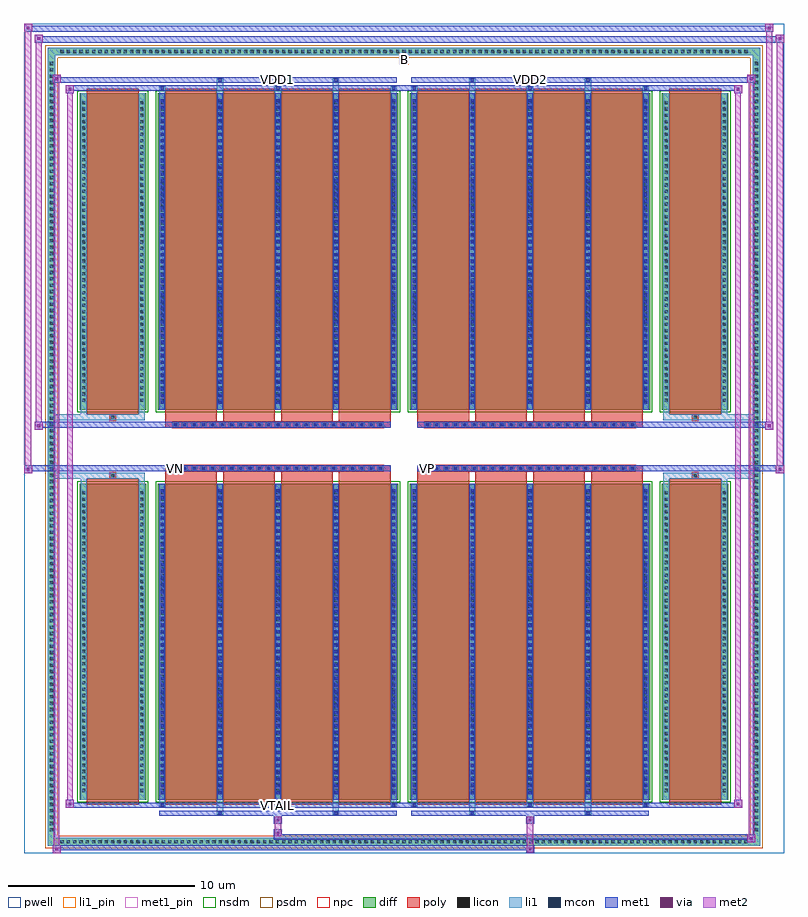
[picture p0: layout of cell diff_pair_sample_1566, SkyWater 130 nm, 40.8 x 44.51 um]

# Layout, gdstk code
import gdstk
lib = gdstk.Library(unit=1e-6, precision=5e-09)
def R(c, l, rs):  # rectangles x0, y0, x1, y1
    for r in rs: c.add(gdstk.rectangle(r[:2], r[2:], *l))
def A(c, l, x, y, w, h, nx, ny, dx, dy):  # array of equal rectangles
    R(c, l, [(x+i*dx, y+j*dy, x+i*dx+w, y+j*dy+h) for i in range(nx) for j in range(ny)])
def P(c, l, *ps):  # polygons
    for p in ps: c.add(gdstk.Polygon(p, *l))
pwell = (64, 44)
diff = (65, 20)
poly = (66, 20)
licon = (66, 44)
li1_pin = (67, 16)
li1 = (67, 20)
mcon = (67, 44)
met1_pin = (68, 16)
met1 = (68, 20)
via = (68, 44)
met2 = (69, 20)
nsdm = (93, 44)
psdm = (94, 20)
npc = (95, 20)

diff_pair_sample_1566 = lib.new_cell('diff_pair_sample_1566')
R(diff_pair_sample_1566, pwell, [(-20.4,-21.82,20.4,22.69), (-17.72,-20.01,-0.01,-0.805), (0.01,-20.01,17.72,-0.805), (-17.72,0.805,-0.01,20.01), (0.01,0.805,17.72,20.01)])
A(diff_pair_sample_1566, diff, -18.565, -21.42, 0.41, 0.41, 109, 2, 0.34, 42.43)
A(diff_pair_sample_1566, diff, -19.13, -20.775, 0.41, 0.41, 1, 122, 0, 0.34)
A(diff_pair_sample_1566, diff, 18.72, -20.775, 0.41, 0.41, 1, 122, 0, 0.34)
R(diff_pair_sample_1566, diff, [(-18.565,-21.42,18.565,-21.01), (-19.13,-20.775,-18.72,20.775), (18.72,-20.775,19.13,20.775), (-17.41,-18.965,-13.85,-1.985), (-13.21,-18.965,-0.32,-1.985), (0.32,-18.965,13.21,-1.985), (13.85,-18.965,17.41,-1.985), (-17.41,1.985,-13.85,18.965), (-13.21,1.985,-0.32,18.965), (0.32,1.985,13.21,18.965), (13.85,1.985,17.41,18.965), (-18.565,21.01,18.565,21.42)])
P(diff_pair_sample_1566, diff, [(19.13,21.42),(-19.13,21.42),(-19.13,-21.01),(-18.72,-21.01),(-18.72,21.01),(18.72,21.01),(18.72,-21.01),(-18.72,-21.01),(-19.13,-21.01),(-19.13,-21.42),(19.13,-21.42)])
A(diff_pair_sample_1566, poly, -12.82, -19.215, 2.78, 17.48, 4, 2, 3.11, 20.95)
A(diff_pair_sample_1566, poly, 0.71, -19.215, 2.78, 17.48, 4, 2, 3.11, 20.95)
A(diff_pair_sample_1566, poly, -12.82, -1.735, 2.78, 0.4, 4, 2, 3.11, 3.07)
A(diff_pair_sample_1566, poly, 0.71, -1.735, 2.78, 0.4, 4, 2, 3.11, 3.07)
A(diff_pair_sample_1566, poly, -12.43, -1.335, 0.33, 0.33, 23, 2, 0.5, 2.34)
A(diff_pair_sample_1566, poly, 1.1, -1.335, 0.33, 0.33, 23, 2, 0.5, 2.34)
R(diff_pair_sample_1566, poly, [(-17.02,-19.215,-14.24,-1.735), (14.24,-19.215,17.02,-1.735), (-15.795,-1.735,-15.465,-1.405), (-15.795,-1.735,-15.465,-1.405), (15.465,-1.735,15.795,-1.405), (15.465,-1.735,15.795,-1.405), (-12.82,-1.335,-0.71,-1.005), (0.71,-1.335,12.82,-1.005), (-12.82,1.005,-0.71,1.335), (0.71,1.005,12.82,1.335), (-15.795,1.405,-15.465,1.735), (-15.795,1.405,-15.465,1.735), (15.465,1.405,15.795,1.735), (15.465,1.405,15.795,1.735), (-17.02,1.735,-14.24,19.215), (14.24,1.735,17.02,19.215)])
A(diff_pair_sample_1566, licon, -18.445, -21.3, 0.17, 0.17, 109, 2, 0.34, 42.43)
A(diff_pair_sample_1566, licon, -19.01, -20.655, 0.17, 0.17, 1, 122, 0, 0.34)
A(diff_pair_sample_1566, licon, 18.84, -20.655, 0.17, 0.17, 1, 122, 0, 0.34)
A(diff_pair_sample_1566, licon, -17.27, -18.55, 0.17, 0.17, 1, 48, 0, 0.34)
A(diff_pair_sample_1566, licon, -14.16, -18.55, 0.17, 0.17, 1, 48, 0, 0.34)
A(diff_pair_sample_1566, licon, -13.07, -18.55, 0.17, 0.17, 5, 48, 3.11, 0.34)
A(diff_pair_sample_1566, licon, 0.46, -18.55, 0.17, 0.17, 5, 48, 3.11, 0.34)
A(diff_pair_sample_1566, licon, 13.99, -18.55, 0.17, 0.17, 1, 48, 0, 0.34)
A(diff_pair_sample_1566, licon, 17.1, -18.55, 0.17, 0.17, 1, 48, 0, 0.34)
A(diff_pair_sample_1566, licon, -12.35, -1.255, 0.17, 0.17, 23, 2, 0.5, 2.34)
A(diff_pair_sample_1566, licon, 1.18, -1.255, 0.17, 0.17, 23, 2, 0.5, 2.34)
A(diff_pair_sample_1566, licon, -17.27, 2.4, 0.17, 0.17, 1, 48, 0, 0.34)
A(diff_pair_sample_1566, licon, -14.16, 2.4, 0.17, 0.17, 1, 48, 0, 0.34)
A(diff_pair_sample_1566, licon, -13.07, 2.4, 0.17, 0.17, 5, 48, 3.11, 0.34)
A(diff_pair_sample_1566, licon, 0.46, 2.4, 0.17, 0.17, 5, 48, 3.11, 0.34)
A(diff_pair_sample_1566, licon, 13.99, 2.4, 0.17, 0.17, 1, 48, 0, 0.34)
A(diff_pair_sample_1566, licon, 17.1, 2.4, 0.17, 0.17, 1, 48, 0, 0.34)
R(diff_pair_sample_1566, licon, [(-15.715,-1.655,-15.545,-1.485), (15.545,-1.655,15.715,-1.485), (-15.715,1.485,-15.545,1.655), (15.545,1.485,15.715,1.655)])
R(diff_pair_sample_1566, li1_pin, [(-0.25,20.51,0.25,21.01)])
A(diff_pair_sample_1566, li1, -18.525, -21.38, 0.33, 0.33, 109, 2, 0.34, 42.43)
A(diff_pair_sample_1566, li1, -19.09, -20.735, 0.33, 0.33, 1, 122, 0, 0.34)
A(diff_pair_sample_1566, li1, 18.76, -20.735, 0.33, 0.33, 1, 122, 0, 0.34)
A(diff_pair_sample_1566, li1, -13.15, -19.34, 0.33, 0.375, 3, 2, 6.22, 38.305)
A(diff_pair_sample_1566, li1, -13.07, -19.34, 0.17, 0.17, 3, 2, 6.22, 38.51)
A(diff_pair_sample_1566, li1, 0.38, -19.34, 0.33, 0.375, 3, 2, 6.22, 38.305)
A(diff_pair_sample_1566, li1, 0.46, -19.34, 0.17, 0.17, 3, 2, 6.22, 38.51)
A(diff_pair_sample_1566, li1, -13.15, -18.965, 0.33, 16.98, 5, 2, 3.11, 20.95)
A(diff_pair_sample_1566, li1, 0.38, -18.965, 0.33, 16.98, 5, 2, 3.11, 20.95)
A(diff_pair_sample_1566, li1, -13.07, -18.66, 0.17, 0.17, 5, 46, 3.11, 0.36)
A(diff_pair_sample_1566, li1, -13.07, -18.66, 0.17, 16.37, 5, 2, 3.11, 20.95)
A(diff_pair_sample_1566, li1, 0.46, -18.66, 0.17, 0.17, 5, 46, 3.11, 0.36)
A(diff_pair_sample_1566, li1, 0.46, -18.66, 0.17, 16.37, 5, 2, 3.11, 20.95)
A(diff_pair_sample_1566, li1, -17.35, -18.63, 0.33, 0.33, 1, 48, 0, 0.34)
A(diff_pair_sample_1566, li1, -14.24, -18.63, 0.33, 0.33, 1, 48, 0, 0.34)
A(diff_pair_sample_1566, li1, -13.15, -18.63, 0.33, 0.33, 5, 48, 3.11, 0.34)
A(diff_pair_sample_1566, li1, 0.38, -18.63, 0.33, 0.33, 5, 48, 3.11, 0.34)
A(diff_pair_sample_1566, li1, 13.91, -18.63, 0.33, 0.33, 1, 48, 0, 0.34)
A(diff_pair_sample_1566, li1, 17.02, -18.63, 0.33, 0.33, 1, 48, 0, 0.34)
A(diff_pair_sample_1566, li1, -12.43, -1.335, 0.33, 0.33, 23, 2, 0.5, 2.34)
A(diff_pair_sample_1566, li1, 1.1, -1.335, 0.33, 0.33, 23, 2, 0.5, 2.34)
A(diff_pair_sample_1566, li1, -13.07, 2.29, 0.17, 0.17, 5, 46, 3.11, 0.36)
A(diff_pair_sample_1566, li1, 0.46, 2.29, 0.17, 0.17, 5, 46, 3.11, 0.36)
A(diff_pair_sample_1566, li1, -17.35, 2.32, 0.33, 0.33, 1, 48, 0, 0.34)
A(diff_pair_sample_1566, li1, -14.24, 2.32, 0.33, 0.33, 1, 48, 0, 0.34)
A(diff_pair_sample_1566, li1, -13.15, 2.32, 0.33, 0.33, 5, 48, 3.11, 0.34)
A(diff_pair_sample_1566, li1, 0.38, 2.32, 0.33, 0.33, 5, 48, 3.11, 0.34)
A(diff_pair_sample_1566, li1, 13.91, 2.32, 0.33, 0.33, 1, 48, 0, 0.34)
A(diff_pair_sample_1566, li1, 17.02, 2.32, 0.33, 0.33, 1, 48, 0, 0.34)
R(diff_pair_sample_1566, li1, [(-19.13,-21.42,-18.72,-21.01), (-19.13,-21.42,-18.72,-21.01), (-18.72,-21.42,18.72,-21.01), (18.72,-21.42,19.13,-21.01), (18.72,-21.42,19.13,-21.01), (-19.13,-21.01,-18.72,21.01), (18.72,-21.01,19.13,21.01), (-10.04,-19.77,-9.71,-18.965), (-9.96,-19.77,-9.79,-19.6), (-3.82,-19.77,-3.49,-18.965), (-3.74,-19.77,-3.57,-19.6), (3.49,-19.77,3.82,-18.965), (3.57,-19.77,3.74,-19.6), (9.71,-19.77,10.04,-18.965), (9.79,-19.77,9.96,-19.6), (-17.35,-18.965,-17.02,-1.985), (-14.24,-18.965,-13.91,-1.985), (13.91,-18.965,14.24,-1.985), (17.02,-18.965,17.35,-1.985), (-17.35,-1.985,-17.02,-1.405), (-14.24,-1.985,-13.91,-1.405), (13.91,-1.985,14.24,-1.405), (17.02,-1.985,17.35,-1.405), (-19.13,-1.735,-15.795,-1.405), (-17.35,-1.735,-15.795,-1.405), (-15.795,-1.735,-15.465,-1.405), (-15.465,-1.735,-13.91,-1.405), (13.91,-1.735,15.465,-1.405), (15.465,-1.735,15.795,-1.405), (15.465,-1.735,19.13,-1.405), (15.795,-1.735,17.35,-1.405), (-19.13,1.405,-15.795,1.735), (-17.35,1.405,-15.795,1.735), (-17.35,1.405,-17.02,1.985), (-15.795,1.405,-15.465,1.735), (-15.465,1.405,-13.91,1.735), (-14.24,1.405,-13.91,1.985), (13.91,1.405,15.465,1.735), (13.91,1.405,14.24,1.985), (15.465,1.405,15.795,1.735), (15.465,1.405,19.13,1.735), (15.795,1.405,17.35,1.735), (17.02,1.405,17.35,1.985), (-17.35,1.985,-17.02,18.965), (-14.24,1.985,-13.91,18.965), (13.91,1.985,14.24,18.965), (17.02,1.985,17.35,18.965), (-10.04,18.965,-9.71,19.77), (-3.82,18.965,-3.49,19.77), (3.49,18.965,3.82,19.77), (9.71,18.965,10.04,19.77), (-9.96,19.6,-9.79,19.77), (-3.74,19.6,-3.57,19.77), (3.57,19.6,3.74,19.77), (9.79,19.6,9.96,19.77), (-19.13,21.01,-18.72,21.42), (-19.13,21.01,-18.72,21.42), (-18.72,21.01,18.72,21.42), (18.72,21.01,19.13,21.42), (18.72,21.01,19.13,21.42)])
A(diff_pair_sample_1566, mcon, -13.07, -19.34, 0.17, 0.17, 3, 2, 6.22, 38.51)
A(diff_pair_sample_1566, mcon, 0.46, -19.34, 0.17, 0.17, 3, 2, 6.22, 38.51)
A(diff_pair_sample_1566, mcon, -13.07, -18.66, 0.17, 0.17, 5, 46, 3.11, 0.36)
A(diff_pair_sample_1566, mcon, 0.46, -18.66, 0.17, 0.17, 5, 46, 3.11, 0.36)
A(diff_pair_sample_1566, mcon, -12.35, -1.255, 0.17, 0.17, 23, 2, 0.5, 2.34)
A(diff_pair_sample_1566, mcon, 1.18, -1.255, 0.17, 0.17, 23, 2, 0.5, 2.34)
A(diff_pair_sample_1566, mcon, -13.07, 2.29, 0.17, 0.17, 5, 46, 3.11, 0.36)
A(diff_pair_sample_1566, mcon, 0.46, 2.29, 0.17, 0.17, 5, 46, 3.11, 0.36)
R(diff_pair_sample_1566, mcon, [(-9.96,-19.77,-9.79,-19.6), (-3.74,-19.77,-3.57,-19.6), (3.57,-19.77,3.74,-19.6), (9.79,-19.77,9.96,-19.6), (-9.96,19.6,-9.79,19.77), (-3.74,19.6,-3.57,19.77), (3.57,19.6,3.74,19.77), (9.79,19.6,9.96,19.77)])
R(diff_pair_sample_1566, met1_pin, [(-6.9,-19.38,-6.63,-19.11), (-12.4,-1.295,-12.13,-1.025), (1.13,-1.295,1.4,-1.025), (-6.9,19.56,-6.63,19.83), (6.63,19.56,6.9,19.83)])
A(diff_pair_sample_1566, met1, -13.13, -19.4, 0.29, 0.29, 3, 2, 6.22, 38.51)
A(diff_pair_sample_1566, met1, 0.4, -19.4, 0.29, 0.29, 3, 2, 6.22, 38.51)
A(diff_pair_sample_1566, met1, -13.13, -18.965, 0.29, 16.98, 5, 2, 3.11, 20.95)
A(diff_pair_sample_1566, met1, 0.4, -18.965, 0.29, 16.98, 5, 2, 3.11, 20.95)
A(diff_pair_sample_1566, met1, -13.13, -18.72, 0.29, 0.29, 5, 46, 3.11, 0.36)
A(diff_pair_sample_1566, met1, 0.4, -18.72, 0.29, 0.29, 5, 46, 3.11, 0.36)
A(diff_pair_sample_1566, met1, -12.41, -1.315, 0.29, 0.29, 23, 2, 0.5, 2.34)
A(diff_pair_sample_1566, met1, 1.12, -1.315, 0.29, 0.29, 23, 2, 0.5, 2.34)
A(diff_pair_sample_1566, met1, -13.13, 2.23, 0.29, 0.29, 5, 46, 3.11, 0.36)
A(diff_pair_sample_1566, met1, 0.4, 2.23, 0.29, 0.29, 5, 46, 3.11, 0.36)
R(diff_pair_sample_1566, met1, [(-18.86,-21.82,-18.43,-21.39), (6.55,-21.82,6.98,-21.39), (-18.86,-21.68,6.98,-21.39), (18.43,-21.25,18.86,-20.82), (-6.98,-21.11,18.86,-20.82), (-6.98,-20.97,-6.55,-20.54), (-6.98,-20.26,-6.55,-19.83), (6.55,-20.26,6.98,-19.83), (-13.13,-19.83,-0.4,-19.54), (-10.02,-19.83,-9.73,-19.54), (-3.8,-19.83,-3.51,-19.54), (0.4,-19.83,13.13,-19.54), (3.51,-19.83,3.8,-19.54), (9.73,-19.83,10.02,-19.54), (-18.15,-19.4,-17.72,-18.97), (-18.15,-19.4,-13.13,-19.11), (-13.13,-19.4,-0.4,-19.11), (-0.4,-19.4,0.4,-19.11), (0.4,-19.4,13.13,-19.11), (13.13,-19.4,18.15,-19.11), (17.72,-19.4,18.15,-18.97), (-20.4,-1.435,-19.97,-1.005), (19.97,-1.435,20.4,-1.005), (-20.4,-1.335,-0.71,-1.005), (-12.82,-1.335,-0.71,-1.005), (0.71,-1.335,12.82,-1.005), (0.71,-1.335,20.4,-1.005), (-19.83,0.905,-19.4,1.335), (19.4,0.905,19.83,1.335), (-19.83,1.005,-12.82,1.335), (-12.82,1.005,-0.71,1.335), (0.71,1.005,12.82,1.335), (12.82,1.005,19.83,1.335), (-18.15,18.97,-17.72,19.4), (17.72,18.97,18.15,19.4), (-18.15,19.11,-13.13,19.4), (-13.13,19.11,-0.4,19.4), (-0.4,19.11,0.4,19.4), (0.4,19.11,13.13,19.4), (13.13,19.11,18.15,19.4), (-18.86,19.54,-18.43,19.97), (-18.86,19.54,-13.13,19.83), (-13.13,19.54,-0.4,19.83), (-10.02,19.54,-9.73,19.83), (-3.8,19.54,-3.51,19.83), (0.4,19.54,13.13,19.83), (3.51,19.54,3.8,19.83), (9.73,19.54,10.02,19.83), (13.13,19.54,18.86,19.83), (18.43,19.54,18.86,19.97), (-19.83,21.69,-19.4,22.12), (-19.83,21.69,-17.72,22.02), (-17.72,21.69,17.72,22.02), (17.72,21.69,20.4,22.02), (19.97,21.69,20.4,22.12), (-20.4,22.26,-19.97,22.69), (-20.4,22.26,-17.72,22.59), (-17.72,22.26,17.72,22.59), (17.72,22.26,19.83,22.59), (19.4,22.26,19.83,22.69)])
R(diff_pair_sample_1566, via, [(-18.72,-21.68,-18.57,-21.53), (6.69,-21.68,6.84,-21.53), (18.57,-21.11,18.72,-20.96), (-6.84,-20.83,-6.69,-20.68), (-6.84,-20.12,-6.69,-19.97), (6.69,-20.12,6.84,-19.97), (-18.01,-19.26,-17.86,-19.11), (17.86,-19.26,18.01,-19.11), (-20.26,-1.295,-20.11,-1.145), (20.11,-1.295,20.26,-1.145), (-19.69,1.045,-19.54,1.195), (19.54,1.045,19.69,1.195), (-18.01,19.11,-17.86,19.26), (17.86,19.11,18.01,19.26), (-18.72,19.68,-18.57,19.83), (18.57,19.68,18.72,19.83), (-19.69,21.83,-19.54,21.98), (20.11,21.83,20.26,21.98), (-20.26,22.4,-20.11,22.55), (19.54,22.4,19.69,22.55)])
R(diff_pair_sample_1566, met2, [(-18.86,-21.82,-18.43,-21.39), (-18.79,-21.82,-18.5,19.97), (-18.5,-21.82,-18.43,-21.39), (-18.81,-21.77,-18.48,-21.44), (6.6,-21.77,6.93,-21.44), (6.6,-21.44,6.93,-20.21), (18.43,-21.25,18.86,-20.82), (18.5,-21.25,18.79,19.97), (18.79,-21.25,18.86,-20.82), (18.48,-21.2,18.81,-20.87), (-6.93,-20.92,-6.6,-20.59), (-6.93,-20.59,-6.6,-20.21), (-6.93,-20.21,-6.6,-19.88), (6.6,-20.21,6.93,-19.88), (-18.15,-19.4,-17.72,-18.97), (-18.08,-19.4,-17.79,19.4), (-17.79,-19.4,-17.72,-18.97), (17.72,-19.4,18.15,-18.97), (17.79,-19.4,18.08,19.4), (18.08,-19.4,18.15,-18.97), (-18.1,-19.35,-17.77,-19.02), (17.77,-19.35,18.1,-19.02), (-20.4,-1.435,-19.97,-1.005), (-20.35,-1.435,-20.02,22.69), (-20.02,-1.435,-19.97,-1.005), (19.97,-1.435,20.4,-1.005), (20.02,-1.435,20.35,22.12), (20.35,-1.435,20.4,-1.005), (-20.35,-1.385,-20.02,-1.055), (20.02,-1.385,20.35,-1.055), (-19.83,0.905,-19.4,1.335), (-19.78,0.905,-19.45,22.12), (-19.45,0.905,-19.4,1.335), (19.4,0.905,19.83,1.335), (19.45,0.905,19.78,22.69), (19.78,0.905,19.83,1.335), (-19.78,0.955,-19.45,1.285), (19.45,0.955,19.78,1.285), (-18.15,18.97,-17.72,19.4), (-17.79,18.97,-17.72,19.4), (17.72,18.97,18.15,19.4), (18.08,18.97,18.15,19.4), (-18.1,19.02,-17.77,19.35), (17.77,19.02,18.1,19.35), (-18.86,19.54,-18.43,19.97), (-18.5,19.54,-18.43,19.97), (18.43,19.54,18.86,19.97), (18.79,19.54,18.86,19.97), (-18.81,19.59,-18.48,19.92), (18.48,19.59,18.81,19.92), (-19.83,21.69,-19.4,22.12), (-19.45,21.69,-19.4,22.12), (19.97,21.69,20.4,22.12), (20.35,21.69,20.4,22.12), (-19.78,21.74,-19.45,22.07), (20.02,21.74,20.35,22.07), (-20.4,22.26,-19.97,22.69), (-20.02,22.26,-19.97,22.69), (19.4,22.26,19.83,22.69), (19.78,22.26,19.83,22.69), (-20.35,22.31,-20.02,22.64), (19.45,22.31,19.78,22.64)])
R(diff_pair_sample_1566, nsdm, [(-17.54,-19.095,-13.72,-1.855), (-13.34,-19.095,-0.19,-1.855), (0.19,-19.095,13.34,-1.855), (13.72,-19.095,17.54,-1.855), (-17.54,1.855,-13.72,19.095), (-13.34,1.855,-0.19,19.095), (0.19,1.855,13.34,19.095), (13.72,1.855,17.54,19.095)])
P(diff_pair_sample_1566, psdm, [(19.26,21.55),(-19.26,21.55),(-19.26,-20.88),(-18.59,-20.88),(-18.59,20.88),(18.59,20.88),(18.59,-20.88),(-18.59,-20.88),(-19.26,-20.88),(-19.26,-21.55),(19.26,-21.55)])
A(diff_pair_sample_1566, npc, -12.45, -1.355, 0.37, 0.37, 23, 2, 0.5, 2.34)
A(diff_pair_sample_1566, npc, 1.08, -1.355, 0.37, 0.37, 23, 2, 0.5, 2.34)
R(diff_pair_sample_1566, npc, [(-15.815,-1.755,-15.445,-1.385), (15.445,-1.755,15.815,-1.385), (-12.45,-1.355,-11.58,-0.985), (-12.45,-1.355,-11.58,-0.985), (-11.95,-1.355,-11.08,-0.985), (-11.95,-1.355,-11.08,-0.985), (-11.45,-1.355,-10.58,-0.985), (-11.45,-1.355,-10.58,-0.985), (-10.95,-1.355,-10.08,-0.985), (-10.95,-1.355,-10.08,-0.985), (-10.45,-1.355,-9.58,-0.985), (-10.45,-1.355,-9.58,-0.985), (-9.95,-1.355,-9.08,-0.985), (-9.95,-1.355,-9.08,-0.985), (-9.45,-1.355,-8.58,-0.985), (-9.45,-1.355,-8.58,-0.985), (-8.95,-1.355,-8.08,-0.985), (-8.95,-1.355,-8.08,-0.985), (-8.45,-1.355,-7.58,-0.985), (-8.45,-1.355,-7.58,-0.985), (-7.95,-1.355,-7.08,-0.985), (-7.95,-1.355,-7.08,-0.985), (-7.45,-1.355,-6.58,-0.985), (-7.45,-1.355,-6.58,-0.985), (-6.95,-1.355,-6.08,-0.985), (-6.95,-1.355,-6.08,-0.985), (-6.45,-1.355,-5.58,-0.985), (-6.45,-1.355,-5.58,-0.985), (-5.95,-1.355,-5.08,-0.985), (-5.95,-1.355,-5.08,-0.985), (-5.45,-1.355,-4.58,-0.985), (-5.45,-1.355,-4.58,-0.985), (-4.95,-1.355,-4.08,-0.985), (-4.95,-1.355,-4.08,-0.985), (-4.45,-1.355,-3.58,-0.985), (-4.45,-1.355,-3.58,-0.985), (-3.95,-1.355,-3.08,-0.985), (-3.95,-1.355,-3.08,-0.985), (-3.45,-1.355,-2.58,-0.985), (-3.45,-1.355,-2.58,-0.985), (-2.95,-1.355,-2.08,-0.985), (-2.95,-1.355,-2.08,-0.985), (-2.45,-1.355,-1.58,-0.985), (-2.45,-1.355,-1.58,-0.985), (-1.95,-1.355,-1.08,-0.985), (-1.95,-1.355,-1.08,-0.985), (1.08,-1.355,1.95,-0.985), (1.08,-1.355,1.95,-0.985), (1.58,-1.355,2.45,-0.985), (1.58,-1.355,2.45,-0.985), (2.08,-1.355,2.95,-0.985), (2.08,-1.355,2.95,-0.985), (2.58,-1.355,3.45,-0.985), (2.58,-1.355,3.45,-0.985), (3.08,-1.355,3.95,-0.985), (3.08,-1.355,3.95,-0.985), (3.58,-1.355,4.45,-0.985), (3.58,-1.355,4.45,-0.985), (4.08,-1.355,4.95,-0.985), (4.08,-1.355,4.95,-0.985), (4.58,-1.355,5.45,-0.985), (4.58,-1.355,5.45,-0.985), (5.08,-1.355,5.95,-0.985), (5.08,-1.355,5.95,-0.985), (5.58,-1.355,6.45,-0.985), (5.58,-1.355,6.45,-0.985), (6.08,-1.355,6.95,-0.985), (6.08,-1.355,6.95,-0.985), (6.58,-1.355,7.45,-0.985), (6.58,-1.355,7.45,-0.985), (7.08,-1.355,7.95,-0.985), (7.08,-1.355,7.95,-0.985), (7.58,-1.355,8.45,-0.985), (7.58,-1.355,8.45,-0.985), (8.08,-1.355,8.95,-0.985), (8.08,-1.355,8.95,-0.985), (8.58,-1.355,9.45,-0.985), (8.58,-1.355,9.45,-0.985), (9.08,-1.355,9.95,-0.985), (9.08,-1.355,9.95,-0.985), (9.58,-1.355,10.45,-0.985), (9.58,-1.355,10.45,-0.985), (10.08,-1.355,10.95,-0.985), (10.08,-1.355,10.95,-0.985), (10.58,-1.355,11.45,-0.985), (10.58,-1.355,11.45,-0.985), (11.08,-1.355,11.95,-0.985), (11.08,-1.355,11.95,-0.985), (11.58,-1.355,12.45,-0.985), (11.58,-1.355,12.45,-0.985), (-12.45,0.985,-11.58,1.355), (-12.45,0.985,-11.58,1.355), (-11.95,0.985,-11.08,1.355), (-11.95,0.985,-11.08,1.355), (-11.45,0.985,-10.58,1.355), (-11.45,0.985,-10.58,1.355), (-10.95,0.985,-10.08,1.355), (-10.95,0.985,-10.08,1.355), (-10.45,0.985,-9.58,1.355), (-10.45,0.985,-9.58,1.355), (-9.95,0.985,-9.08,1.355), (-9.95,0.985,-9.08,1.355), (-9.45,0.985,-8.58,1.355), (-9.45,0.985,-8.58,1.355), (-8.95,0.985,-8.08,1.355), (-8.95,0.985,-8.08,1.355), (-8.45,0.985,-7.58,1.355), (-8.45,0.985,-7.58,1.355), (-7.95,0.985,-7.08,1.355), (-7.95,0.985,-7.08,1.355), (-7.45,0.985,-6.58,1.355), (-7.45,0.985,-6.58,1.355), (-6.95,0.985,-6.08,1.355), (-6.95,0.985,-6.08,1.355), (-6.45,0.985,-5.58,1.355), (-6.45,0.985,-5.58,1.355), (-5.95,0.985,-5.08,1.355), (-5.95,0.985,-5.08,1.355), (-5.45,0.985,-4.58,1.355), (-5.45,0.985,-4.58,1.355), (-4.95,0.985,-4.08,1.355), (-4.95,0.985,-4.08,1.355), (-4.45,0.985,-3.58,1.355), (-4.45,0.985,-3.58,1.355), (-3.95,0.985,-3.08,1.355), (-3.95,0.985,-3.08,1.355), (-3.45,0.985,-2.58,1.355), (-3.45,0.985,-2.58,1.355), (-2.95,0.985,-2.08,1.355), (-2.95,0.985,-2.08,1.355), (-2.45,0.985,-1.58,1.355), (-2.45,0.985,-1.58,1.355), (-1.95,0.985,-1.08,1.355), (-1.95,0.985,-1.08,1.355), (1.08,0.985,1.95,1.355), (1.08,0.985,1.95,1.355), (1.58,0.985,2.45,1.355), (1.58,0.985,2.45,1.355), (2.08,0.985,2.95,1.355), (2.08,0.985,2.95,1.355), (2.58,0.985,3.45,1.355), (2.58,0.985,3.45,1.355), (3.08,0.985,3.95,1.355), (3.08,0.985,3.95,1.355), (3.58,0.985,4.45,1.355), (3.58,0.985,4.45,1.355), (4.08,0.985,4.95,1.355), (4.08,0.985,4.95,1.355), (4.58,0.985,5.45,1.355), (4.58,0.985,5.45,1.355), (5.08,0.985,5.95,1.355), (5.08,0.985,5.95,1.355), (5.58,0.985,6.45,1.355), (5.58,0.985,6.45,1.355), (6.08,0.985,6.95,1.355), (6.08,0.985,6.95,1.355), (6.58,0.985,7.45,1.355), (6.58,0.985,7.45,1.355), (7.08,0.985,7.95,1.355), (7.08,0.985,7.95,1.355), (7.58,0.985,8.45,1.355), (7.58,0.985,8.45,1.355), (8.08,0.985,8.95,1.355), (8.08,0.985,8.95,1.355), (8.58,0.985,9.45,1.355), (8.58,0.985,9.45,1.355), (9.08,0.985,9.95,1.355), (9.08,0.985,9.95,1.355), (9.58,0.985,10.45,1.355), (9.58,0.985,10.45,1.355), (10.08,0.985,10.95,1.355), (10.08,0.985,10.95,1.355), (10.58,0.985,11.45,1.355), (10.58,0.985,11.45,1.355), (11.08,0.985,11.95,1.355), (11.08,0.985,11.95,1.355), (11.58,0.985,12.45,1.355), (11.58,0.985,12.45,1.355), (-15.815,1.385,-15.445,1.755), (15.445,1.385,15.815,1.755)])
diff_pair_sample_1566.add(gdstk.Label('VTAIL', (-6.765,-19.245), layer=68, texttype=5))
diff_pair_sample_1566.add(gdstk.Label('VN', (-12.265,-1.16), layer=68, texttype=5))
diff_pair_sample_1566.add(gdstk.Label('VP', (1.265,-1.16), layer=68, texttype=5))
diff_pair_sample_1566.add(gdstk.Label('B', (0,20.76), layer=67, texttype=5))
diff_pair_sample_1566.add(gdstk.Label('VDD2', (6.765,19.695), layer=68, texttype=5))
diff_pair_sample_1566.add(gdstk.Label('VDD1', (-6.765,19.695), layer=68, texttype=5))

lib.write_gds('diff_pair_sample_1566.gds')
